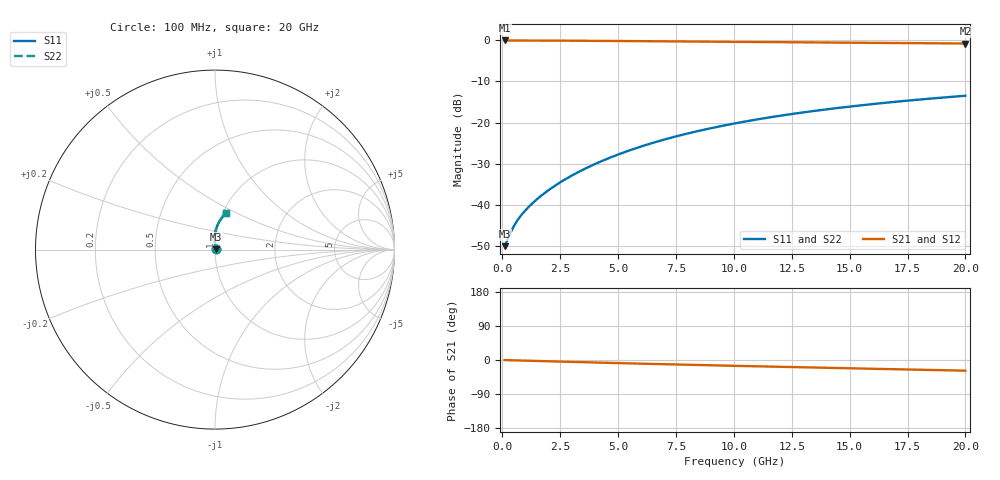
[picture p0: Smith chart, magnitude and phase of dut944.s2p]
! Touchstone file exported from HFSS 2024.1.0
!  File:  C:/UserFiles/LocalFiles/RDL_TSV_Batchsim/temp_RDL_bottom_944_1779941908.aedt
!  Generated:  12:21:00 PM May 28, 2026
!  Design:  RDL_bottom
!  Project:  temp_RDL_bottom_944_1779941908
!  Setup:  Setup1
!  Solution:  Sweep
! Variables:
!  dtsv = 10.80580581um
!  hbump = 3um
!  htsv = 98.53um
!  ldown = 422.1um
!  lrdl = 100um
!  p = 40
!  p1 = 44.86um
!  rhole = 1um
!  t = 450um
!  tdown = 2.03um
!  trdl = 3.915915916um
!  wdown = 29.14um
!  wrdl = 20um
# GHz S MA R 50.000000
! Terminal data exported
! Port[1] = RDL1_T1
! Port[2] = RDL1_T2
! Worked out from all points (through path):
!   200 points, 100 MHz to 20 GHz, reference 50 ohm
!   highest |S21| = -0.03 dB at 100 MHz (marker M1); lowest = -0.8 dB at 20 GHz (marker M2)
!   group delay of S21, straight-line fit = 3.86 ps
!   lowest |S11| = -50.1 dB at 100 MHz (marker M3), VSWR 1.01, Z = 50.3 + j0.0947 ohm
!   |S11| at or under -10 dB: start of sweep to end of sweep
!   |S22| runs from -50.1 to -13.5 dB; largest |S21 - S12| = 2.6e-15
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0.1  0.003127 17.5  0.997 -0.2  0.997 -0.2  0.003127 17.5
! Gamma 0 0 0 0
! Port Impedance 50 0 50 0
0.4  0.004844 46.2  0.9965 -0.7  0.9965 -0.7  0.004844 46.2
0.5  0.005488 50.6  0.9963 -0.9  0.9963 -0.9  0.005489 50.6
0.6  0.006117 54.1  0.996 -1.1  0.996 -1.1  0.006118 54.1
0.7  0.006733 57.0  0.9958 -1.2  0.9958 -1.2  0.006733 57.0
0.9  0.007941 61.9  0.9954 -1.6  0.9954 -1.6  0.007942 61.9
1.2  0.009769 67.8  0.9949 -2.1  0.9949 -2.1  0.00977 67.7
1.7  0.01299 75.0  0.9938 -2.9  0.9938 -2.9  0.01299 75.0
2.2  0.01647 80.2  0.9926 -3.7  0.9926 -3.7  0.01647 80.1
2.8  0.02101 84.6  0.9908 -4.7  0.9908 -4.7  0.02101 84.5
3.5  0.02679 88.0  0.9884 -5.8  0.9884 -5.8  0.02678 88.0
4.2  0.03306 90.3  0.9856 -6.9  0.9856 -6.9  0.03305 90.2
5  0.04077 91.8  0.9821 -8.2  0.9821 -8.2  0.04076 91.7
5.9  0.05005 92.5  0.978 -9.5  0.978 -9.5  0.05003 92.4
6.8  0.05985 92.5  0.9737 -10.9  0.9737 -10.9  0.05982 92.4
8.4  0.07814 91.3  0.966 -13.1  0.966 -13.1  0.0781 91.3
10.1  0.09826 89.2  0.9579 -15.5  0.9579 -15.5  0.0982 89.2
11.7  0.1174 86.8  0.9505 -17.6  0.9505 -17.6  0.1173 86.8
13.4  0.1376 84.1  0.9429 -19.8  0.9429 -19.8  0.1375 84.0
15  0.1563 81.5  0.936 -21.9  0.936 -21.9  0.1562 81.4
16.7  0.1757 78.7  0.9288 -24.0  0.9288 -24.0  0.1755 78.6
20  0.2117 73.5  0.9152 -28.2  0.9152 -28.2  0.2115 73.4
